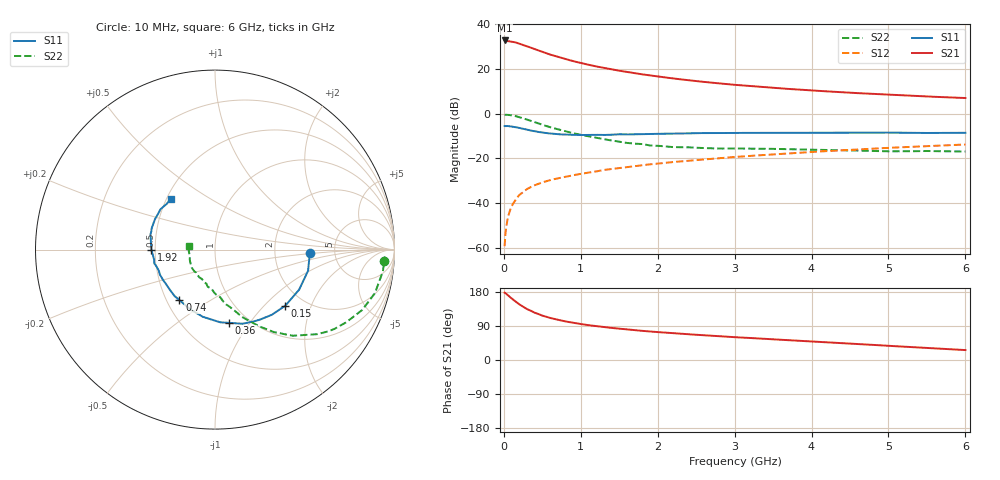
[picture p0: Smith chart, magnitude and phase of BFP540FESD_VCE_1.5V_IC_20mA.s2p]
! Infineon Technologies  Discrete & RF Semiconductors
! BFP540FESD
! VCE =  1.5 V,  IC =  20 mA
! Common Emitter S-Parameters:  Nov 2015
# GHz  S  MA  R  50
!  f  S11  S21  S12  S22
! GHz  MAG  ANG  MAG  ANG  MAG  ANG  MAG  ANG
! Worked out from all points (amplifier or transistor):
!   210 points, 10 MHz to 6 GHz, reference 50 ohm
!   highest |S21| = 32.7 dB at 10 MHz (marker M1)
!   |S21| within 3 dB of that: start of sweep to 333.5 MHz
!   unconditionally stable (mu >= 1): 1.705 GHz to end of sweep
!   at 185 MHz: K = 0.29, MSG = 34.2 dB, |S12| = -37.0 dB
!   at 1.52 GHz: K = 0.97, MSG = 21.6 dB, |S12| = -24.2 dB
!   at 6 GHz: K = 1.17, MAG = 7.9 dB, |S12| = -13.8 dB
!   S11 on the Smith chart (normalised r, x): 10 MHz: 3.24, -0.16; 150 MHz: 1.60, -1.34; 360 MHz: 0.81, -0.80; 740 MHz: 0.58, -0.37; 1.92 GHz: 0.48, -0.00; 6 GHz: 0.53, +0.35
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0.01  0.5295 -1.9  43.14 177.7  0.0011 106.8  0.9434 -3.8
0.02  0.5276 -6.6  42.09 176.5  0.002 86.3  0.9464 -2.6
0.05  0.5319 -12.8  41.91 171.4  0.0045 81.8  0.9433 -7.4
0.1  0.5191 -25.5  40.74 162.6  0.0085 81.2  0.9236 -15.2
0.15  0.501 -38.6  39.15 154.6  0.0117 77.0  0.8865 -22.3
0.2  0.4817 -49.0  36.76 147.0  0.0152 72.1  0.8372 -28.8
0.26  0.4556 -61.3  33.92 139.4  0.0182 69.2  0.7801 -35.6
0.3  0.4407 -69.6  32.11 134.5  0.0207 67.5  0.7392 -39.6
0.36  0.4158 -79.1  29.36 129.1  0.0234 65.5  0.6819 -44.3
0.4  0.4061 -85.9  27.7 124.9  0.0252 64.4  0.6466 -47.9
0.5  0.3806 -100.2  24.07 117.1  0.0291 62.5  0.5645 -54.5
0.6  0.3615 -111.6  20.95 111.1  0.0329 61.9  0.4991 -59.5
0.74  0.3447 -125.2  17.77 104.6  0.0371 60.9  0.4305 -65.4
0.9  0.3367 -138.1  14.91 98.1  0.0421 60.4  0.3663 -71.3
1.02  0.3337 -145.6  13.3 94.3  0.0459 60.3  0.3319 -75.2
1.4  0.3385 -163.7  9.79 84.7  0.0579 59.7  0.2526 -88.1
1.92  0.354 -179.5  7.066 75.0  0.0745 58.3  0.1944 -105.2
2.02  0.3561 177.2  6.694 73.3  0.0772 57.6  0.1908 -108.7
3.1  0.3721 160.0  4.276 59.2  0.1109 53.0  0.1661 -135.6
4.1  0.3745 151.4  3.223 47.8  0.1428 47.3  0.1557 -151.7
5.1  0.3762 142.2  2.611 36.3  0.1756 39.7  0.1443 -168.1
6  0.3742 130.9  2.236 26.2  0.2049 32.2  0.1432 172.9
